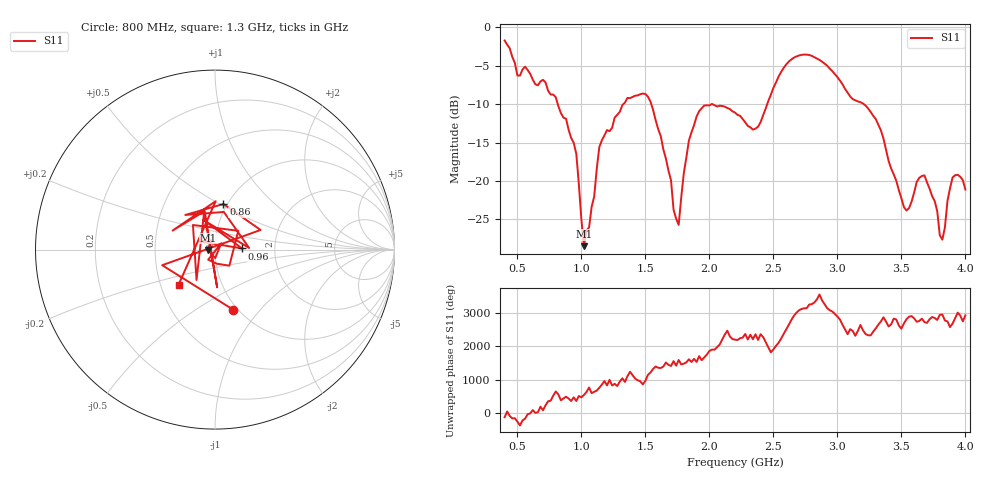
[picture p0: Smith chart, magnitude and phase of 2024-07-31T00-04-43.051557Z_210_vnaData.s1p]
!Created with skrf (http://scikit-rf.org).
# Hz S RI R 50.0
!freq ReS11 ImS11
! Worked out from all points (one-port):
!   181 points, 400 MHz to 4 GHz, reference 50 ohm
!   lowest |S11| = -28.5 dB at 1.02 GHz (marker M1), VSWR 1.08, Z = 46.4 - j0.245 ohm
!   |S11| at or under -10 dB: 815.5 MHz to 1.327 GHz (511.7 MHz wide, 47.8 % of centre); 1.546 GHz to 2.017 GHz (470.5 MHz wide, 26.4 % of centre); 3.207 GHz to end of sweep (the widest 3 of 4)
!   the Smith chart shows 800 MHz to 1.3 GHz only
!   S11 on the Smith chart (normalised r, x): 800 MHz: 0.96, -0.73; 860 MHz: 0.96, +0.52; 960 MHz: 1.35, +0.02; 1.3 GHz: 0.62, -0.26
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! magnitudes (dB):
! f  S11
! 400 MHz  -1.7
! 500 MHz  -6.3
! 560 MHz  -5.1
! 800 MHz  -9.1
! 860 MHz  -11.8
! 960 MHz  -16.4
! 1.02 GHz  -28.5
! 1.1 GHz  -22.0
! 1.14 GHz  -15.6
! 1.3 GHz  -11.0
! 1.52 GHz  -9.0
! 1.62 GHz  -14.2
! 1.76 GHz  -25.7
! 1.84 GHz  -14.7
! 1.92 GHz  -10.9
! 2.2 GHz  -11.1
! 2.38 GHz  -12.9
! 2.66 GHz  -3.9
! 2.88 GHz  -4.5
! 3.1 GHz  -9.0
! 3.3 GHz  -11.9
! 3.52 GHz  -23.4
! 3.56 GHz  -23.5
! 3.68 GHz  -19.3
! 3.76 GHz  -22.6
! 3.82 GHz  -27.6
! 3.9 GHz  -19.5
! 4 GHz  -21.1
